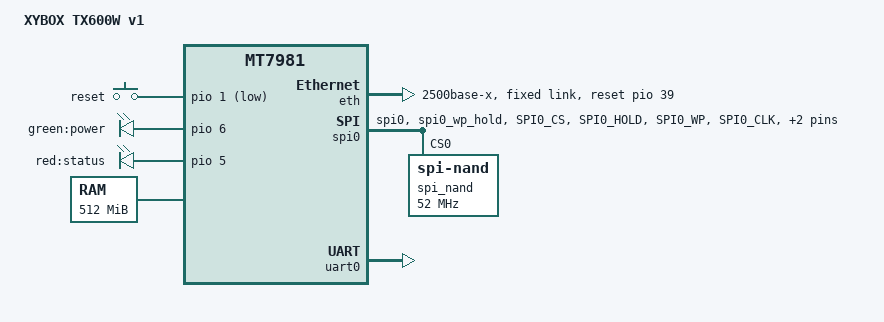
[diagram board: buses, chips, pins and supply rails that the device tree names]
// SPDX-License-Identifier: GPL-2.0

/dts-v1/;
#include "mt7981.dtsi"
#include <dt-bindings/gpio/gpio.h>
#include <dt-bindings/input/linux-event-codes.h>

/ {
	#address-cells = <1>;
	#size-cells = <1>;
	model = "XYBOX TX600W v1";
	compatible = "xybox,tx600w-v1", "mediatek,mt7981", "mediatek,mt7981-rfb";

	chosen {
		stdout-path = &uart0;
		tick-timer = &timer0;
	};

	/* MTK 官方 bootmenu 从这里取启动/指示灯配置 */
	config {
		bootcmd = "mtkboardboot";
		blink_led = "red:status";
		system_led = "green:power";
	};

	/*
	 * 多分区布局：env mtd_layout 选哪一条就用哪一条当 mtdparts。
	 * 注意 BL2/FIP 分区名必须小写 bl2/fip —— MTK bootmenu 里写死
	 * PART_BL2_NAME="bl2"、PART_FIP_NAME="fip"（bootmenu_common.h:16-17），
	 * 用大写会让菜单升级/网页救砖找不到分区。
	 *   default       原厂布局：FIP@0x380000，ubi 66M + firmware_backup 32M
	 *   openwrt-114m  ubi 116736k，尾部 8.5M 不分区
	 * 两者前四段偏移一致，切换不用重刷 BL2/FIP。
	 */
	mtd-layout {
		layout@0 {
			label = "default";
			mtdids = "nmbm0=nmbm0";
			mtdparts = "nmbm0:1024k(bl2),512k(u-boot-env),2048k(Factory),2048k(fip),67584k(ubi),32768k(firmware_backup)";
		};

		layout@1 {
			label = "openwrt-114m";
			mtdids = "nmbm0=nmbm0";
			mtdparts = "nmbm0:1024k(bl2),512k(u-boot-env),2048k(Factory),2048k(fip),116736k(ubi)";
		};
	};

	/*
	 * 实测（2026-11-15，TTL 读 mt7981_pinctrl1）：
	 * 本机只有一颗键，接 GPIO1、低有效（未按=1，按住=0）。
	 * 官方 DTS 的 wps(GPIO0) 在这批硬件上不存在（GPIO0 常读 0），已删除。
	 */
	gpio-keys {
		compatible = "gpio-keys";

		key-reset {
			label = "reset";
			linux,code = <KEY_RESTART>;
			gpios = <&pio 1 GPIO_ACTIVE_LOW>;
		};
	};

	/* 官方 DTS：绿 GPIO6=green:power、红 GPIO5=red:status（默认亮），均高有效 */
	gpio-leds {
		compatible = "gpio-leds";

		led_power: led-green {
			label = "green:power";
			gpios = <&pio 6 GPIO_ACTIVE_HIGH>;
		};

		led_status: led-red {
			label = "red:status";
			gpios = <&pio 5 GPIO_ACTIVE_HIGH>;
			default-state = "on";
		};
	};

	memory@40000000 {
		device_type = "memory";
		reg = <0x40000000 0x20000000>;
	};

	bl2_verify {
		bl2_compatible = "spim-nand";
	};
};

&eth {
	status = "okay";
	mediatek,gmac-id = <0>;
	phy-mode = "2500base-x";
	mediatek,switch = "auto";
	reset-gpios = <&pio 39 GPIO_ACTIVE_HIGH>;

	fixed-link {
		speed = <2500>;
		full-duplex;
	};
};

&pio {
	spi_flash_pins: spi0-pins-func-1 {
		mux {
			function = "flash";
			groups = "spi0", "spi0_wp_hold";
		};

		conf-pu {
			pins = "SPI0_CS", "SPI0_HOLD", "SPI0_WP";
			drive-strength = <MTK_DRIVE_8mA>;
			bias-pull-up = <MTK_PUPD_SET_R1R0_11>;
		};

		conf-pd {
			pins = "SPI0_CLK", "SPI0_MOSI", "SPI0_MISO";
			drive-strength = <MTK_DRIVE_8mA>;
			bias-pull-down = <MTK_PUPD_SET_R1R0_11>;
		};
	};
};

&spi0 {
	#address-cells = <1>;
	#size-cells = <0>;
	pinctrl-names = "default";
	pinctrl-0 = <&spi_flash_pins>;
	status = "okay";
	must_tx;
	enhance_timing;
	dma_ext;
	ipm_design;
	support_quad;
	tick_dly = <2>;
	sample_sel = <0>;

	/* 不写 partitions、不写 generic,nmbm：分区分区由 mtdparts 交 nmbm0 */
	spi_nand: spi_nand@0 {
		compatible = "spi-nand";
		reg = <0>;
		spi-max-frequency = <52000000>;
		spi-tx-buswidth = <4>;
		spi-rx-buswidth = <4>;
	};
};

&uart0 {
	mediatek,force-highspeed;
	status = "okay";
};

&watchdog {
	status = "disabled";
};
